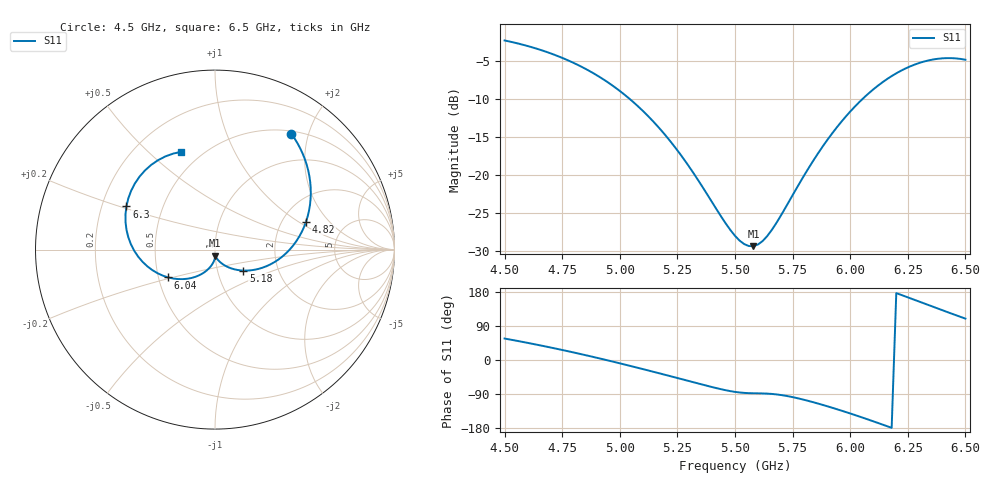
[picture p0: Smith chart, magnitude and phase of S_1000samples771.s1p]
! TOUCHSTONE file generated by CST MICROWAVE STUDIO
! Date and time: Sat Oct 29 08:03:28 2022
! Project name: L.cst
! Parameters = {Di=1.27; Epsilon_r=1.56; InnerDiameter=1.27; Length=2; Lf=10; Lg=60; OuterConductorThickness=0.2921; OuterDiameter=3.6; Wf=3; Wp=41.2; de=1.5; df=6.8; g=0.8; gx=0.807269; gy=0.999136; h=2.34; hf=1.524; px=10.1597; py=10.7567; w=9.7; wx=9.35244; wy=9.7576}
! Header version: 2018
! Port assignment regex: !\s*Touchstone port\s*([0-9]+)\s*=\s*(CST MWS port|CST DS port)\s*([0-9]+|Zmin|Zmax)\s*\(\"(.*)\"\)(\s*mode\s*([0-9]+))?.*
! Touchstone port assignment:
! Touchstone port 1 = CST MWS port 1 ("")
# GHz S DB R 50
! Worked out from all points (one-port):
!   101 points, 4.5 GHz to 6.5 GHz, reference 50 ohm
!   lowest |S11| = -29.4 dB at 5.58 GHz (marker M1), VSWR 1.07, Z = 50 - j3.38 ohm
!   |S11| at or under -10 dB: 5.044 GHz to 6.053 GHz (1.008 GHz wide, 18.2 % of centre)
!   S11 on the Smith chart (normalised r, x): 4.5 GHz: 0.54, +1.73; 4.82 GHz: 2.69, +1.17; 5.18 GHz: 1.33, -0.32; 6.04 GHz: 0.56, -0.19; 6.3 GHz: 0.31, +0.21; 6.5 GHz: 0.39, +0.64
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4.5  -2.24 56.6
4.64  -3.33 40.4
4.76  -4.66 25.2
4.82  -5.50 17.1
4.92  -7.21 3.0
5  -8.91 -8.8
5.08  -10.97 -20.9
5.18  -14.12 -36.5
5.26  -17.17 -49.1
5.38  -22.61 -68.2
5.5  -28.06 -84.2
5.54  -29.15 -86.8
5.58  -29.43 -87.8
5.6  -29.20 -88.0
5.64  -28.09 -88.7
5.68  -26.34 -90.8
5.76  -22.16 -99.3
5.88  -16.28 -118.4
6  -11.64 -141.1
6.04  -10.37 -149.2
6.1  -8.71 -161.8
6.14  -7.77 -170.3
6.2  -6.58 176.5
6.26  -5.67 163.1
6.3  -5.21 154.1
6.36  -4.75 140.5
6.42  -4.57 126.9
6.5  -4.78 109.3
